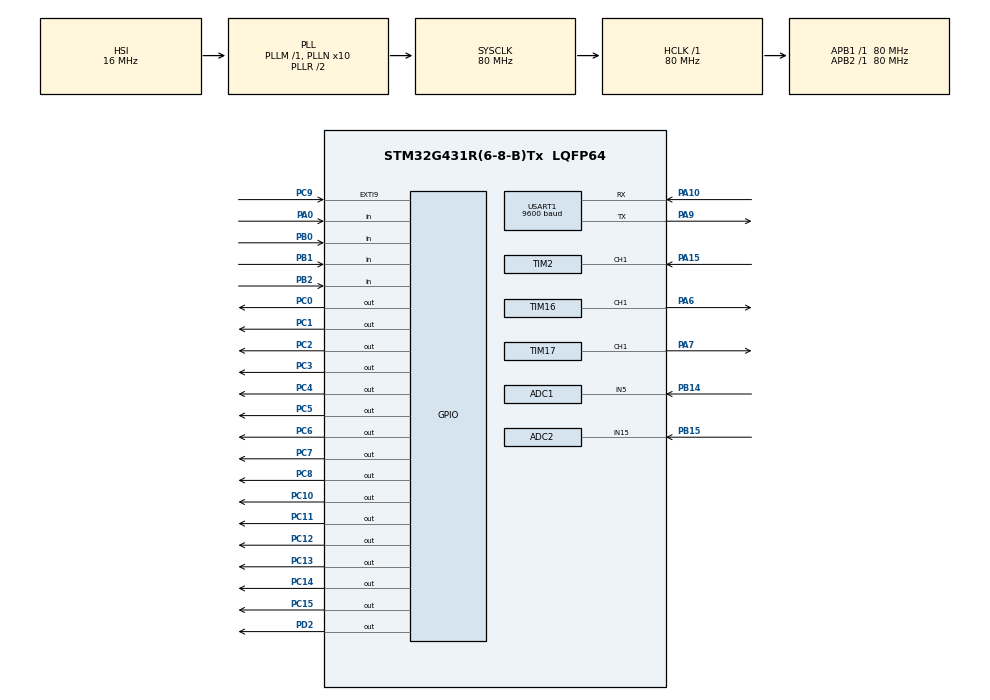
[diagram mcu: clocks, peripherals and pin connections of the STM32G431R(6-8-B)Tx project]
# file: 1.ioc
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ADC1.Channel-0\#ChannelRegularConversion=ADC_CHANNEL_5
ADC1.NbrOfConversionFlag=1
ADC1.OffsetNumber-0\#ChannelRegularConversion=ADC_OFFSET_NONE
ADC1.Rank-0\#ChannelRegularConversion=1
ADC1.SamplingTime-0\#ChannelRegularConversion=ADC_SAMPLETIME_640CYCLES_5
ADC1.master=1
ADC2.Channel-0\#ChannelRegularConversion=ADC_CHANNEL_15
ADC2.NbrOfConversionFlag=1
ADC2.OffsetNumber-0\#ChannelRegularConversion=ADC_OFFSET_NONE
ADC2.Rank-0\#ChannelRegularConversion=1
ADC2.SamplingTime-0\#ChannelRegularConversion=ADC_SAMPLETIME_640CYCLES_5
Dma.Request0=USART1_RX
Dma.Request1=USART1_TX
Dma.USART1_RX.0.Direction=DMA_PERIPH_TO_MEMORY
Dma.USART1_RX.0.EventEnable=DISABLE
Dma.USART1_RX.0.Instance=DMA1_Channel1
Dma.USART1_RX.0.MemDataAlignment=DMA_MDATAALIGN_BYTE
Dma.USART1_RX.0.MemInc=DMA_MINC_ENABLE
Dma.USART1_RX.0.Mode=DMA_NORMAL
Dma.USART1_RX.0.PeriphDataAlignment=DMA_PDATAALIGN_BYTE
Dma.USART1_RX.0.PeriphInc=DMA_PINC_DISABLE
Dma.USART1_RX.0.Polarity=HAL_DMAMUX_REQ_GEN_RISING
Dma.USART1_RX.0.Priority=DMA_PRIORITY_LOW
Dma.USART1_RX.0.RequestNumber=1
Dma.USART1_RX.0.SignalID=NONE
Dma.USART1_RX.0.SyncEnable=DISABLE
Dma.USART1_RX.0.SyncPolarity=HAL_DMAMUX_SYNC_NO_EVENT
Dma.USART1_RX.0.SyncRequestNumber=1
Dma.USART1_RX.0.SyncSignalID=NONE
Dma.USART1_TX.1.Direction=DMA_MEMORY_TO_PERIPH
Dma.USART1_TX.1.EventEnable=DISABLE
Dma.USART1_TX.1.Instance=DMA1_Channel2
Dma.USART1_TX.1.MemDataAlignment=DMA_MDATAALIGN_BYTE
Dma.USART1_TX.1.MemInc=DMA_MINC_ENABLE
Dma.USART1_TX.1.Mode=DMA_NORMAL
Dma.USART1_TX.1.PeriphDataAlignment=DMA_PDATAALIGN_BYTE
Dma.USART1_TX.1.PeriphInc=DMA_PINC_DISABLE
Dma.USART1_TX.1.Polarity=HAL_DMAMUX_REQ_GEN_RISING
Dma.USART1_TX.1.Priority=DMA_PRIORITY_LOW
Dma.USART1_TX.1.RequestNumber=1
Dma.USART1_TX.1.SignalID=NONE
Dma.USART1_TX.1.SyncEnable=DISABLE
Dma.USART1_TX.1.SyncPolarity=HAL_DMAMUX_SYNC_NO_EVENT
Dma.USART1_TX.1.SyncRequestNumber=1
Dma.USART1_TX.1.SyncSignalID=NONE
Mcu.Family=STM32G4
Mcu.Name=STM32G431R(6-8-B)Tx
Mcu.Package=LQFP64
NVIC.DMA1_Channel1_IRQn=true\:0\:0\:false\:false\:true\:false\:true\:true
NVIC.DMA1_Channel2_IRQn=true\:0\:0\:false\:false\:true\:false\:true\:true
NVIC.PriorityGroup=NVIC_PRIORITYGROUP_4
NVIC.TIM1_UP_TIM16_IRQn=true\:0\:0\:false\:false\:true\:true\:true\:true
NVIC.TIM2_IRQn=true\:0\:0\:false\:false\:true\:true\:true\:true
NVIC.USART1_IRQn=true\:0\:0\:false\:false\:true\:true\:true\:true
PA0.GPIO_PuPd=GPIO_PULLUP
PA0.Signal=GPIO_Input
PA10.Mode=Asynchronous
PA10.Signal=USART1_RX
PA13.Mode=Serial_Wire
PA13.Signal=SYS_JTMS-SWDIO
PA14.Mode=Serial_Wire
PA14.Signal=SYS_JTCK-SWCLK
PA15.Signal=S_TIM2_CH1
PA6.Signal=S_TIM16_CH1
PA7.Signal=S_TIM17_CH1
PA9.Mode=Asynchronous
PA9.Signal=USART1_TX
PB0.GPIO_PuPd=GPIO_PULLUP
PB0.Signal=GPIO_Input
PB1.GPIO_PuPd=GPIO_PULLUP
PB1.Signal=GPIO_Input
PB14.Mode=IN5-Single-Ended
PB14.Signal=ADC1_IN5
PB15.Mode=IN15-Single-Ended
PB15.Signal=ADC2_IN15
PB2.GPIO_PuPd=GPIO_PULLUP
PB2.Signal=GPIO_Input
PC0.Signal=GPIO_Output
PC1.Signal=GPIO_Output
PC10.Signal=GPIO_Output
PC11.Signal=GPIO_Output
PC12.Signal=GPIO_Output
PC13.Signal=GPIO_Output
PC14-OSC32_IN.Signal=GPIO_Output
PC15-OSC32_OUT.Signal=GPIO_Output
PC2.Signal=GPIO_Output
PC3.Signal=GPIO_Output
PC4.Signal=GPIO_Output
PC5.Signal=GPIO_Output
PC6.Signal=GPIO_Output
PC7.Signal=GPIO_Output
PC8.Signal=GPIO_Output
PC9.Signal=GPXTI9
PD2.Signal=GPIO_Output
PF0-OSC_IN.Mode=HSE-External-Oscillator
PF0-OSC_IN.Signal=RCC_OSC_IN
PF1-OSC_OUT.Mode=HSE-External-Oscillator
PF1-OSC_OUT.Signal=RCC_OSC_OUT
ProjectManager.HeapSize=0x200
ProjectManager.StackSize=0x400
ProjectManager.TargetToolchain=MDK-ARM V5
RCC.ADC12Freq_Value=80000000
RCC.AHBFreq_Value=80000000
RCC.APB1Freq_Value=80000000
RCC.APB1TimFreq_Value=80000000
RCC.APB2Freq_Value=80000000
RCC.APB2TimFreq_Value=80000000
RCC.CortexFreq_Value=80000000
RCC.EXTERNAL_CLOCK_VALUE=12288000
RCC.HCLKFreq_Value=80000000
RCC.HSE_VALUE=24000000
RCC.HSI48_VALUE=48000000
RCC.HSI_VALUE=16000000
RCC.LSE_VALUE=32768
RCC.PLLN=10
RCC.SYSCLKFreq_VALUE=80000000
RCC.SYSCLKSource=RCC_SYSCLKSOURCE_PLLCLK
RCC.USBFreq_Value=80000000
RCC.VCOOutputFreq_Value=160000000
RTC.AsynchPrediv=31
RTC.SynchPrediv=999
SH.S_TIM16_CH1.0=TIM16_CH1,PWM Generation1 CH1
SH.S_TIM17_CH1.0=TIM17_CH1,PWM Generation1 CH1
SH.S_TIM2_CH1.0=TIM2_CH1,Input_Capture1_from_TI1
TIM1.Prescaler=79
TIM16.AutoReloadPreload=TIM_AUTORELOAD_PRELOAD_ENABLE
TIM16.Channel=TIM_CHANNEL_1
TIM16.Prescaler=79
TIM17.AutoReloadPreload=TIM_AUTORELOAD_PRELOAD_ENABLE
TIM17.Channel=TIM_CHANNEL_1
TIM17.Prescaler=79
TIM2.Channel-Input_Capture1_from_TI1=TIM_CHANNEL_1
TIM2.Prescaler=79
USART1.BaudRate=9600
USART1.VirtualMode-Asynchronous=VM_ASYNC
VP_RTC_VS_RTC_Activate.Mode=RTC_Enabled
VP_RTC_VS_RTC_Calendar.Mode=RTC_Calendar
VP_SYS_VS_DBSignals.Mode=DisableDeadBatterySignals
VP_TIM16_VS_ClockSourceINT.Mode=Enable_Timer
VP_TIM17_VS_ClockSourceINT.Mode=Enable_Timer
VP_TIM1_VS_ClockSourceINT.Mode=Internal
VP_TIM2_VS_ClockSourceINT.Mode=Internal
board=custom

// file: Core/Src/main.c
/* USER CODE BEGIN Header */
/**
  ******************************************************************************
  * @file           : main.c
  * @brief          : Main program body
  ******************************************************************************
  * @attention
  *
  * <h2><center>&copy; Copyright (c) 2021 STMicroelectronics.
  * All rights reserved.</center></h2>
  *
  * This software component is licensed by ST under BSD 3-Clause license,
  * the "License"; You may not use this file except in compliance with the
  * License. You may obtain a copy of the License at:
  *                        opensource.org/licenses/BSD-3-Clause
  *
  ******************************************************************************
  */
/* USER CODE END Header */
#include "main.h"
#include "adc.h"
#include "dma.h"
#include "gpio.h"
#include "rtc.h"
#include "tim.h"
#include "usart.h"

/* USER CODE BEGIN Includes */
#include "user.h"
/* USER CODE END Includes */

void SystemClock_Config(void);

int main(void)
{

  /* MCU Configuration--------------------------------------------------------*/

  /* Reset of all peripherals, Initializes the Flash interface and the Systick. */
  HAL_Init();

  /* Configure the system clock */
  SystemClock_Config();

  /* Initialize all configured peripherals */
  MX_GPIO_Init();
  MX_DMA_Init();
  MX_USART1_UART_Init();
  MX_ADC2_Init();
  MX_TIM2_Init();
  MX_TIM16_Init();
  MX_TIM17_Init();
  MX_ADC1_Init();
  MX_RTC_Init();
  MX_TIM1_Init();
  /* USER CODE BEGIN 2 */
	LCD_Init();
	I2CInit();

	HAL_TIM_IC_Start_IT(&htim2,TIM_CHANNEL_1);
	HAL_TIM_PWM_Start(&htim16,TIM_CHANNEL_1);
	HAL_TIM_PWM_Start(&htim17,TIM_CHANNEL_1);

	HAL_UARTEx_ReceiveToIdle_DMA(&huart1,(u8 *)rx_buf,100);

	led_disp(0);
	HAL_Delay(100);

	LCD_SetBackColor(Black);
	LCD_SetTextColor(White);
	LCD_Clear(Black);

	EEP_Write(14,100);
	EEP_value=EEP_Read(14);
  /* USER CODE END 2 */

  /* Infinite loop */
  /* USER CODE BEGIN WHILE */
  while (1)
  {
		lcd_proc();
		key_proc();
		led_proc();
		adc_proc();
		pwm_proc();
		rx_proc();
		rtc_proc();
		EEP_value=EEP_Read(14);
    /* USER CODE END WHILE */

    }
}

void SystemClock_Config(void)
{
  RCC_OscInitTypeDef RCC_OscInitStruct = {0};
  RCC_ClkInitTypeDef RCC_ClkInitStruct = {0};

  /** Configure the main internal regulator output voltage
  */
  HAL_PWREx_ControlVoltageScaling(PWR_REGULATOR_VOLTAGE_SCALE1);

  /** Initializes the RCC Oscillators according to the specified parameters
  * in the RCC_OscInitTypeDef structure.
  */
  RCC_OscInitStruct.OscillatorType = RCC_OSCILLATORTYPE_HSI|RCC_OSCILLATORTYPE_LSI;
  RCC_OscInitStruct.HSIState = RCC_HSI_ON;
  RCC_OscInitStruct.HSICalibrationValue = RCC_HSICALIBRATION_DEFAULT;
  RCC_OscInitStruct.LSIState = RCC_LSI_ON;
  RCC_OscInitStruct.PLL.PLLState = RCC_PLL_ON;
  RCC_OscInitStruct.PLL.PLLSource = RCC_PLLSOURCE_HSI;
  RCC_OscInitStruct.PLL.PLLM = RCC_PLLM_DIV1;
  RCC_OscInitStruct.PLL.PLLN = 10;
  RCC_OscInitStruct.PLL.PLLP = RCC_PLLP_DIV2;
  RCC_OscInitStruct.PLL.PLLQ = RCC_PLLQ_DIV2;
  RCC_OscInitStruct.PLL.PLLR = RCC_PLLR_DIV2;
  if (HAL_RCC_OscConfig(&RCC_OscInitStruct) != HAL_OK)
  {
    Error_Handler();
  }

  /** Initializes the CPU, AHB and APB buses clocks
  */
  RCC_ClkInitStruct.ClockType = RCC_CLOCKTYPE_HCLK|RCC_CLOCKTYPE_SYSCLK
                              |RCC_CLOCKTYPE_PCLK1|RCC_CLOCKTYPE_PCLK2;
  RCC_ClkInitStruct.SYSCLKSource = RCC_SYSCLKSOURCE_PLLCLK;
  RCC_ClkInitStruct.AHBCLKDivider = RCC_SYSCLK_DIV1;
  RCC_ClkInitStruct.APB1CLKDivider = RCC_HCLK_DIV1;
  RCC_ClkInitStruct.APB2CLKDivider = RCC_HCLK_DIV1;

  if (HAL_RCC_ClockConfig(&RCC_ClkInitStruct, FLASH_LATENCY_2) != HAL_OK)
  {
    Error_Handler();
  }
}

void Error_Handler(void)
{
}
